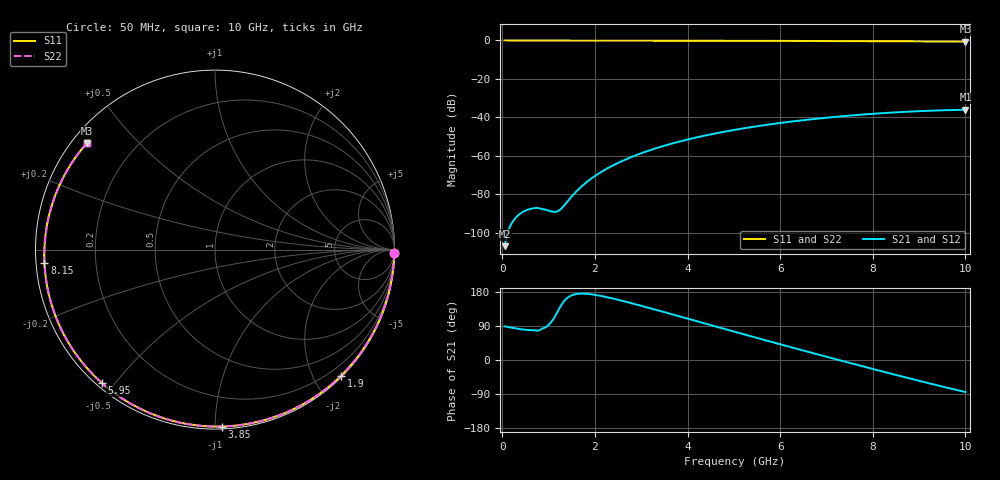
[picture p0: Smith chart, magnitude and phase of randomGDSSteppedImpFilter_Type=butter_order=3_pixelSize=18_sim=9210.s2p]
! freq	dB(S11)	phase(S11)	dB(S12)	phase(S12)
!  dB(S21)	phase(S21)	dB(S22)	phase(S22)
!S-par simulation data
#  GHz  S  DB  R 50
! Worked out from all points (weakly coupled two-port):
!   200 points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, 50 MHz to 10 GHz, reference 50 ohm
!   highest |S21| = -35.98 dB at 10 GHz (marker M1); lowest = -106.9 dB at 50 MHz (marker M2)
!   lowest |S11| = -0.6 dB at 10 GHz (marker M3), VSWR 26.88, Z = 2.1 + j18.1 ohm
!   |S11| at or under -10 dB: nowhere
!   |S22| runs from -0.6 to 0.0 dB; largest |S21 - S12| = 0
!   S11 on the Smith chart (normalised r, x): 50 MHz: 2, -98; 1.9 GHz: 0.02, -2.41; 3.85 GHz: 0.01, -1.04; 5.95 GHz: 0.02, -0.46; 8.15 GHz: 0.02, -0.04; 10 GHz: 0.04, +0.36
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0.05  -0.00 -1.2  -106.85 88.8  -106.85 88.8  -0.00 -1.2
0.75  -0.02 -18.0  -87.00 77.5  -87.00 77.5  -0.02 -18.0
1.5  -0.05 -35.8  -81.01 170.7  -81.01 170.7  -0.05 -35.7
1.55  -0.05 -36.9  -79.68 172.7  -79.68 172.7  -0.05 -36.9
1.75  -0.05 -41.6  -75.01 175.2  -75.01 175.2  -0.05 -41.5
1.9  -0.06 -45.0  -72.12 173.7  -72.12 173.7  -0.06 -45.0
2.2  -0.07 -51.8  -67.39 167.3  -67.39 167.3  -0.07 -51.8
2.55  -0.08 -59.7  -63.04 157.4  -63.04 157.4  -0.08 -59.7
2.95  -0.09 -68.5  -59.04 144.7  -59.04 144.7  -0.09 -68.5
3.4  -0.10 -78.3  -55.39 129.6  -55.39 129.6  -0.10 -78.2
3.85  -0.12 -87.8  -52.36 114.3  -52.36 114.3  -0.12 -87.8
4.45  -0.14 -100.3  -49.03 93.8  -49.03 93.8  -0.14 -100.2
5.05  -0.17 -112.5  -46.30 73.4  -46.30 73.4  -0.17 -112.4
5.95  -0.22 -130.4  -43.03 43.2  -43.03 43.2  -0.22 -130.4
6.7  -0.28 -145.4  -40.88 18.4  -40.88 18.4  -0.28 -145.3
7.45  -0.35 -160.7  -39.14 -6.0  -39.14 -6.0  -0.34 -160.6
8.15  -0.42 -175.5  -37.86 -28.4  -37.86 -28.4  -0.42 -175.4
8.35  -0.44 -179.8  -37.55 -34.7  -37.55 -34.7  -0.44 -179.7
8.8  -0.49 170.0  -36.95 -48.8  -36.95 -48.8  -0.49 170.1
9.2  -0.54 160.6  -36.53 -61.0  -36.53 -61.0  -0.54 160.7
9.6  -0.59 150.7  -36.21 -73.0  -36.21 -73.0  -0.59 150.8
10  -0.65 140.2  -35.98 -84.6  -35.98 -84.6  -0.65 140.4
